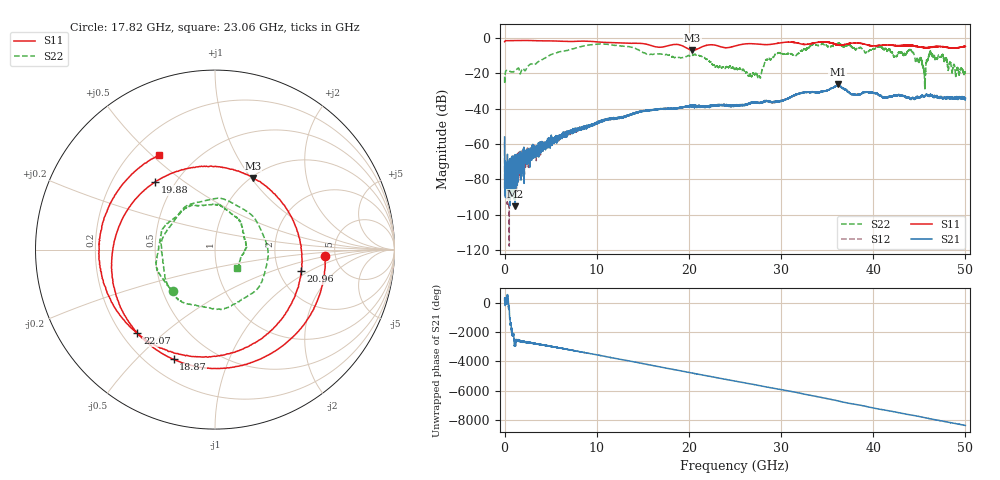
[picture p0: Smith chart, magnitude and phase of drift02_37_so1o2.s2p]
!Created with skrf (http://scikit-rf.org).
# Hz S RI R 50.0
!freq ReS11 ImS11 ReS21 ImS21 ReS12 ImS12 ReS22 ImS22
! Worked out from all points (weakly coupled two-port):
!   10001 points, 300 kHz to 50 GHz, reference 50 ohm
!   highest |S21| = -26.27 dB at 36.14 GHz (marker M1); lowest = -95.2 dB at 1.155 GHz (marker M2)
!   lowest |S11| = -6.9 dB at 20.38 GHz (marker M3), VSWR 2.64, Z = 51 + j51 ohm
!   |S11| at or under -10 dB: nowhere
!   |S22| runs from -29.2 to -2.7 dB; largest |S21 - S12| = 0.0047
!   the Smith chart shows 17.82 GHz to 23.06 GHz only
!   S11 on the Smith chart (normalised r, x): 17.82 GHz: 4.15, -0.51; 18.87 GHz: 0.30, -0.65; 19.88 GHz: 0.39, +0.39; 20.96 GHz: 2.65, -0.84; 22.07 GHz: 0.26, -0.41; 23.06 GHz: 0.31, +0.53
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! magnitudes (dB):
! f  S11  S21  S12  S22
! 300 kHz  -2.1  -56.0  -58.8  -21.8
! 260.3 MHz  -1.4  -73.1  -77.9  -18.2
! 1.155 GHz  -1.4  -95.2  -77.1  -18.5
! 8.335 GHz  -1.7  -51.0  -51.2  -4.8
! 16.67 GHz  -5.2  -40.3  -40.3  -9.0
! 17.82 GHz  -4.2  -40.0  -40.0  -9.7
! 18.87 GHz  -3.7  -39.5  -39.5  -11.0
! 19.88 GHz  -6.0  -38.7  -38.6  -10.0
! 20.38 GHz  -6.9  -39.1  -38.2  -9.7
! 20.96 GHz  -6.1  -39.1  -38.7  -9.3
! 22.07 GHz  -3.9  -38.6  -38.3  -12.3
! 23.06 GHz  -4.3  -37.7  -38.0  -15.8
! 25 GHz  -4.5  -38.3  -38.1  -17.7
! 27.63 GHz  -3.5  -36.7  -36.5  -21.4
! 29.54 GHz  -3.1  -36.1  -36.3  -8.8
! 33.34 GHz  -3.1  -30.8  -30.6  -3.8
! 36.14 GHz  -3.9  -26.3  -27.0  -3.1
! 41.67 GHz  -3.9  -33.3  -33.3  -6.2
! 44.12 GHz  -4.1  -34.6  -34.4  -7.1
! 45.51 GHz  -5.4  -33.1  -33.1  -18.3
! 46.27 GHz  -5.2  -32.2  -32.3  -9.3
! 50 GHz  -4.8  -33.9  -34.3  -19.2
